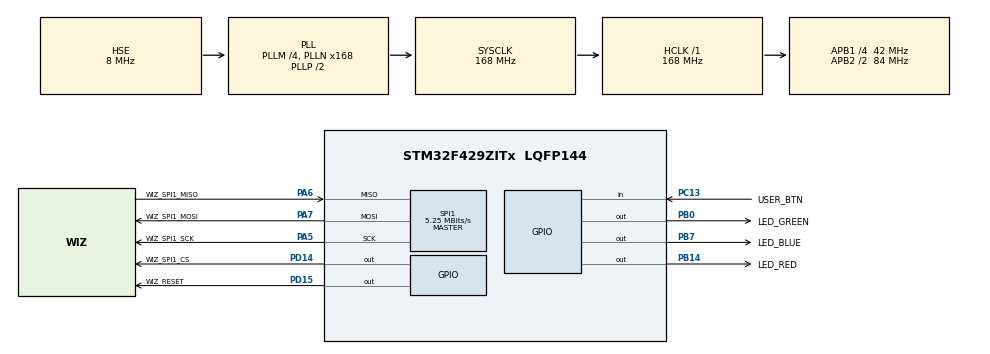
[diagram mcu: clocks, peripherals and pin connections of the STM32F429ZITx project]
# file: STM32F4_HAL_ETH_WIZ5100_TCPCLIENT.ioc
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FREERTOS.Tasks01=defaultTask,0,256,StartDefaultTask,Default,NULL,Dynamic,NULL,NULL
FREERTOS.configCHECK_FOR_STACK_OVERFLOW=2
FREERTOS.configENABLE_FPU=1
FREERTOS.configMINIMAL_STACK_SIZE=256
FREERTOS.configTOTAL_HEAP_SIZE=32768
Mcu.Family=STM32F4
Mcu.Name=STM32F429ZITx
Mcu.Package=LQFP144
NVIC.PriorityGroup=NVIC_PRIORITYGROUP_4
NVIC.TIM6_DAC_IRQn=true\:0\:0\:false\:false\:true\:false\:false\:true
NVIC.TimeBase=TIM6_DAC_IRQn
NVIC.TimeBaseIP=TIM6
PA13.Mode=Trace_Asynchronous_SW
PA13.Signal=SYS_JTMS-SWDIO
PA14.Mode=Trace_Asynchronous_SW
PA14.Signal=SYS_JTCK-SWCLK
PA5.GPIO_Label=WIZ_SPI1_SCK
PA5.Mode=Full_Duplex_Master
PA5.Signal=SPI1_SCK
PA6.GPIO_Label=WIZ_SPI1_MISO
PA6.Mode=Full_Duplex_Master
PA6.Signal=SPI1_MISO
PA7.GPIO_Label=WIZ_SPI1_MOSI
PA7.Mode=Full_Duplex_Master
PA7.Signal=SPI1_MOSI
PB0.GPIO_Label=LED_GREEN
PB0.Signal=GPIO_Output
PB14.GPIO_Label=LED_RED
PB14.Signal=GPIO_Output
PB3.Mode=Trace_Asynchronous_SW
PB3.Signal=SYS_JTDO-SWO
PB7.GPIO_Label=LED_BLUE
PB7.Signal=GPIO_Output
PC13.GPIO_Label=USER_BTN
PC13.Signal=GPIO_Input
PC14/OSC32_IN.Mode=LSE-External-Oscillator
PC14/OSC32_IN.Signal=RCC_OSC32_IN
PC15/OSC32_OUT.Mode=LSE-External-Oscillator
PC15/OSC32_OUT.Signal=RCC_OSC32_OUT
PD14.GPIO_Label=WIZ_SPI1_CS
PD14.GPIO_PuPd=GPIO_PULLUP
PD14.PinState=GPIO_PIN_SET
PD14.Signal=GPIO_Output
PD15.GPIO_Label=WIZ_RESET
PD15.Signal=GPIO_Output
PH0/OSC_IN.Mode=HSE-External-Clock-Source
PH0/OSC_IN.Signal=RCC_OSC_IN
PH1/OSC_OUT.Mode=HSE-External-Clock-Source
PH1/OSC_OUT.Signal=RCC_OSC_OUT
ProjectManager.HeapSize=0x200
ProjectManager.StackSize=0x800
ProjectManager.TargetToolchain=STM32CubeIDE
RCC.48MHZClocksFreq_Value=48000000
RCC.AHBFreq_Value=168000000
RCC.APB1CLKDivider=RCC_HCLK_DIV4
RCC.APB1Freq_Value=42000000
RCC.APB1TimFreq_Value=84000000
RCC.APB2CLKDivider=RCC_HCLK_DIV2
RCC.APB2Freq_Value=84000000
RCC.APB2TimCLKDivider=2
RCC.APB2TimFreq_Value=168000000
RCC.CortexFreq_Value=168000000
RCC.HCLKFreq_Value=168000000
RCC.HSE_VALUE=8000000
RCC.HSI_VALUE=16000000
RCC.PLLM=4
RCC.PLLMUL=RCC_PLL_MUL9
RCC.PLLN=168
RCC.PLLQ=7
RCC.PLLSourceVirtual=RCC_PLLSOURCE_HSE
RCC.PRESCALERUSB=RCC_USBCLKSOURCE_PLL_DIV1_5
RCC.SYSCLKFreq_VALUE=168000000
RCC.SYSCLKSource=RCC_SYSCLKSOURCE_PLLCLK
RCC.SYSCLKSourceVirtual=RCC_SYSCLKSOURCE_PLLCLK
RCC.USBFreq_Value=48000000
RCC.VCOOutputFreq_Value=336000000
SPI1.BaudRatePrescaler=SPI_BAUDRATEPRESCALER_16
SPI1.CalculateBaudRate=5.25 MBits/s
SPI1.Direction=SPI_DIRECTION_2LINES
SPI1.Mode=SPI_MODE_MASTER
SPI1.VirtualType=VM_MASTER
VP_FREERTOS_VS_CMSIS_V1.Mode=CMSIS_V1
VP_SYS_VS_tim6.Mode=TIM6
board=NUCLEO-F429ZI

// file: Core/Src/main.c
/* USER CODE BEGIN Header */
/**
  ******************************************************************************
  * @file           : main.c
  * @brief          : Main program body
  ******************************************************************************
  * @attention
  *
  * <h2><center>&copy; Copyright (c) 2020 STMicroelectronics.
  * All rights reserved.</center></h2>
  *
  * This software component is licensed by ST under Ultimate Liberty license
  * SLA0044, the "License"; You may not use this file except in compliance with
  * the License. You may obtain a copy of the License at:
  *                             www.st.com/SLA0044
  *
  ******************************************************************************
  */
/* USER CODE END Header */

#include "main.h"
#include "cmsis_os.h"
#include "spi.h"
#include "gpio.h"

/* USER CODE BEGIN Includes */
#include <stdio.h>
#include "dhcp.h"
/* USER CODE END Includes */

/* USER CODE BEGIN PV */
static uint16_t wizDHCPticks = 0;
/* USER CODE END PV */

void SystemClock_Config(void);
void MX_FREERTOS_Init(void);

/* USER CODE BEGIN 0 */
int _write(int file, char *ptr, int len)
{
  int DataIdx;

  for (DataIdx = 0; DataIdx < len; DataIdx++)
  {
    ITM_SendChar(*ptr++);
  }
  return len;
}
/* USER CODE END 0 */

int main(void)
{

  /* MCU Configuration--------------------------------------------------------*/

  /* Reset of all peripherals, Initializes the Flash interface and the Systick. */
  HAL_Init();

  /* Configure the system clock */
  SystemClock_Config();

  /* Initialize all configured peripherals */
  MX_GPIO_Init();
  MX_SPI1_Init();
  /* USER CODE BEGIN 2 */
  printf("Don't remove this printf to prevent hard fault.\r\n");

  /* USER CODE END 2 */

  /* Call init function for freertos objects (in freertos.c) */
  MX_FREERTOS_Init();
  /* Start scheduler */
  osKernelStart();

  /* We should never get here as control is now taken by the scheduler */
  /* Infinite loop */
  while (1)
  {

  }
}

void SystemClock_Config(void)
{
  RCC_OscInitTypeDef RCC_OscInitStruct = {0};
  RCC_ClkInitTypeDef RCC_ClkInitStruct = {0};

  /** Configure the main internal regulator output voltage
  */
  __HAL_RCC_PWR_CLK_ENABLE();
  __HAL_PWR_VOLTAGESCALING_CONFIG(PWR_REGULATOR_VOLTAGE_SCALE1);
  /** Initializes the CPU, AHB and APB busses clocks
  */
  RCC_OscInitStruct.OscillatorType = RCC_OSCILLATORTYPE_HSE;
  RCC_OscInitStruct.HSEState = RCC_HSE_BYPASS;
  RCC_OscInitStruct.PLL.PLLState = RCC_PLL_ON;
  RCC_OscInitStruct.PLL.PLLSource = RCC_PLLSOURCE_HSE;
  RCC_OscInitStruct.PLL.PLLM = 4;
  RCC_OscInitStruct.PLL.PLLN = 168;
  RCC_OscInitStruct.PLL.PLLP = RCC_PLLP_DIV2;
  RCC_OscInitStruct.PLL.PLLQ = 7;
  if (HAL_RCC_OscConfig(&RCC_OscInitStruct) != HAL_OK)
  {
    Error_Handler();
  }
  /** Initializes the CPU, AHB and APB busses clocks
  */
  RCC_ClkInitStruct.ClockType = RCC_CLOCKTYPE_HCLK|RCC_CLOCKTYPE_SYSCLK
                              |RCC_CLOCKTYPE_PCLK1|RCC_CLOCKTYPE_PCLK2;
  RCC_ClkInitStruct.SYSCLKSource = RCC_SYSCLKSOURCE_PLLCLK;
  RCC_ClkInitStruct.AHBCLKDivider = RCC_SYSCLK_DIV1;
  RCC_ClkInitStruct.APB1CLKDivider = RCC_HCLK_DIV4;
  RCC_ClkInitStruct.APB2CLKDivider = RCC_HCLK_DIV2;

  if (HAL_RCC_ClockConfig(&RCC_ClkInitStruct, FLASH_LATENCY_5) != HAL_OK)
  {
    Error_Handler();
  }
}

 /**
  * @brief  Period elapsed callback in non blocking mode
  * @note   This function is called  when TIM6 interrupt took place, inside
  * HAL_TIM_IRQHandler(). It makes a direct call to HAL_IncTick() to increment
  * a global variable "uwTick" used as application time base.
  * @param  htim : TIM handle
  * @retval None
  */
void HAL_TIM_PeriodElapsedCallback(TIM_HandleTypeDef *htim)
{
  if (htim->Instance == TIM6) {
    HAL_IncTick();
  }
  /* USER CODE BEGIN Callback 1 */
  if(htim->Instance == TIM6) {
	  wizDHCPticks++;
	  if(wizDHCPticks >= 1000)
	  {
		  wizDHCPticks = 0;
		  DHCP_time_handler();
	  }
  }

  /* USER CODE END Callback 1 */
}

void Error_Handler(void)
{
}

/************************ (C) COPYRIGHT STMicroelectronics *****END OF FILE****/

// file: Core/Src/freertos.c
/* USER CODE BEGIN Header */
/**
 ******************************************************************************
 * File Name          : freertos.c
 * Description        : Code for freertos applications
 ******************************************************************************
 * @attention
 *
 * <h2><center>&copy; Copyright (c) 2020 STMicroelectronics.
 * All rights reserved.</center></h2>
 *
 * This software component is licensed by ST under Ultimate Liberty license
 * SLA0044, the "License"; You may not use this file except in compliance with
 * the License. You may obtain a copy of the License at:
 *                             www.st.com/SLA0044
 *
 ******************************************************************************
 */
/* USER CODE END Header */

#include "FreeRTOS.h"
#include "task.h"
#include "main.h"
#include "cmsis_os.h"

/* USER CODE BEGIN Includes */
#include "tcpclient.h"
/* USER CODE END Includes */

/* USER CODE BEGIN Variables */
osThreadId wizTcpClientTaskHandle;
/* USER CODE END Variables */
osThreadId defaultTaskHandle;

/* USER CODE BEGIN FunctionPrototypes */
void StartWizTcpClientTask(void const * argument);
/* USER CODE END FunctionPrototypes */

void StartDefaultTask(void const * argument);

void MX_FREERTOS_Init(void); /* (MISRA C 2004 rule 8.1) */

/* GetIdleTaskMemory prototype (linked to static allocation support) */
void vApplicationGetIdleTaskMemory( StaticTask_t **ppxIdleTaskTCBBuffer, StackType_t **ppxIdleTaskStackBuffer, uint32_t *pulIdleTaskStackSize );

/* Hook prototypes */
void vApplicationStackOverflowHook(xTaskHandle xTask, signed char *pcTaskName);

/* USER CODE BEGIN 4 */
__weak void vApplicationStackOverflowHook(xTaskHandle xTask, signed char *pcTaskName)
{
	/* Run time stack overflow checking is performed if
   configCHECK_FOR_STACK_OVERFLOW is defined to 1 or 2. This hook function is
   called if a stack overflow is detected. */
	HAL_GPIO_WritePin(LED_BLUE_GPIO_Port, LED_BLUE_Pin, GPIO_PIN_SET);	//turn on blue led when system detects stack overflow
}
/* USER CODE END 4 */

/* USER CODE BEGIN GET_IDLE_TASK_MEMORY */
static StaticTask_t xIdleTaskTCBBuffer;
static StackType_t xIdleStack[configMINIMAL_STACK_SIZE];

void vApplicationGetIdleTaskMemory( StaticTask_t **ppxIdleTaskTCBBuffer, StackType_t **ppxIdleTaskStackBuffer, uint32_t *pulIdleTaskStackSize )
{
	*ppxIdleTaskTCBBuffer = &xIdleTaskTCBBuffer;
	*ppxIdleTaskStackBuffer = &xIdleStack[0];
	*pulIdleTaskStackSize = configMINIMAL_STACK_SIZE;
	/* place for user code */
}
/* USER CODE END GET_IDLE_TASK_MEMORY */

void MX_FREERTOS_Init(void) {

  /* Create the thread(s) */
  /* definition and creation of defaultTask */
  osThreadDef(defaultTask, StartDefaultTask, osPriorityNormal, 0, 256);
  defaultTaskHandle = osThreadCreate(osThread(defaultTask), NULL);

}

void StartDefaultTask(void const * argument)
{
  /* USER CODE BEGIN StartDefaultTask */
	osThreadDef(wizTcpClientTask, StartWizTcpClientTask, osPriorityNormal, 0, 256);
	wizTcpClientTaskHandle = osThreadCreate(osThread(wizTcpClientTask), NULL);
	/* Infinite loop */
	for(;;)
	{
		HAL_GPIO_TogglePin(LED_GREEN_GPIO_Port, LED_GREEN_Pin);
		osDelay(500);
	}
  /* USER CODE END StartDefaultTask */
}

/************************ (C) COPYRIGHT STMicroelectronics *****END OF FILE****/
